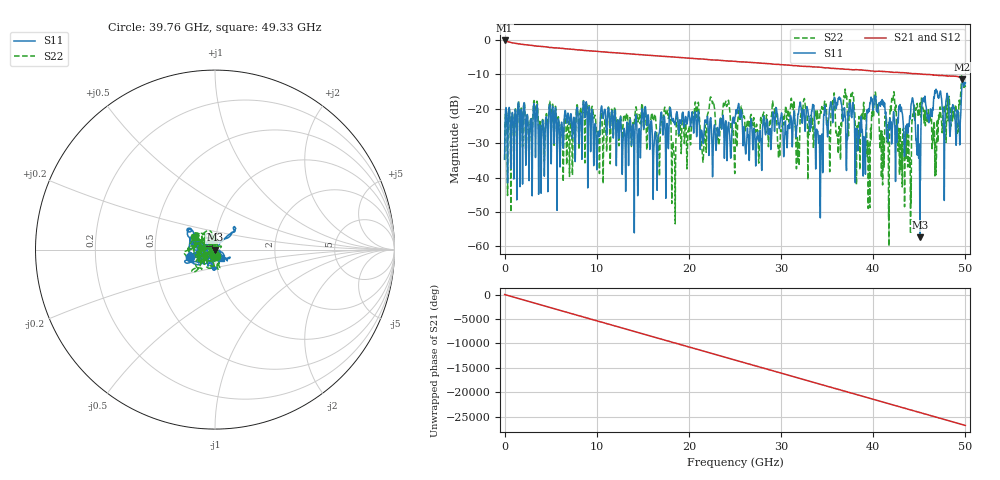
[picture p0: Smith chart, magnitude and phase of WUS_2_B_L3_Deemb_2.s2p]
!Keysight Technologies PLTS 2018, Build 20180706.1
!Deembedding/AFR applied
!FILE: C:\Work\EESof\Project\Hisilicon\PCB_Material\Implementation\Raw_Data\第二轮\B\WUS_2_B_L3_DUT_2.s2p
!$DUT_CFG_DESC: Default 2-Port Configuration
!$NUMBER_PORTS: 2
!$DIFF_PORT_MAP: 1|1P|2|1P|
!$PORT_MAP: 1|1|<<<<<<|2|2|>>>>>>|
!Date: Monday, February 25, 2019, 11:11:14
!S2P File: Measurements: S11,S21,S12,S22:
# MHz S  RI  R 50
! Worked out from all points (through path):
!   5000 points, 10 MHz to 50 GHz, reference 50 ohm
!   highest |S21| = -0.15 dB at 10 MHz (marker M1); lowest = -11.4 dB at 49.66 GHz (marker M2)
!   group delay of S21, straight-line fit = 1.48 ns
!   lowest |S11| = -57.3 dB at 45.06 GHz (marker M3), VSWR 1.00, Z = 49.9 - j0.102 ohm
!   |S11| at or under -10 dB: start of sweep to end of sweep
!   |S22| runs from -59.9 to -10.1 dB; largest |S21 - S12| = 0.0028
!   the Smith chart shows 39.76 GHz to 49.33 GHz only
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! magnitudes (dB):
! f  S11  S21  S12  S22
! 10 MHz  -34.7  -0.1  -0.2  -34.9
! 8.35 GHz  -26.2  -3.0  -3.0  -23.1
! 16.68 GHz  -27.9  -4.6  -4.6  -28.4
! 18.35 GHz  -23.6  -5.0  -5.0  -32.2
! 20.85 GHz  -28.1  -5.5  -5.5  -22.4
! 21.65 GHz  -26.5  -5.6  -5.6  -29.7
! 22.48 GHz  -27.8  -5.8  -5.8  -17.5
! 25.01 GHz  -22.5  -6.2  -6.2  -35.4
! 33.34 GHz  -20.7  -7.8  -7.8  -24.4
! 34.32 GHz  -29.0  -7.9  -8.0  -21.2
! 36.28 GHz  -16.8  -8.4  -8.4  -25.2
! 37.65 GHz  -22.5  -8.6  -8.6  -16.7
! 39 GHz  -28.1  -8.8  -8.8  -19.2
! 39.53 GHz  -20.8  -8.9  -8.9  -30.1
! 40.31 GHz  -18.3  -9.1  -9.1  -17.9
! 41.67 GHz  -24.0  -9.3  -9.3  -52.1
! 42.23 GHz  -21.1  -9.4  -9.5  -15.1
! 43.93 GHz  -22.8  -9.6  -9.7  -35.9
! 45.06 GHz  -57.3  -9.9  -9.9  -19.0
! 46.62 GHz  -16.9  -10.2  -10.2  -23.7
! 49.66 GHz  -12.3  -11.4  -11.3  -10.6
! 50 GHz  -12.5  -10.8  -10.7  -13.7
